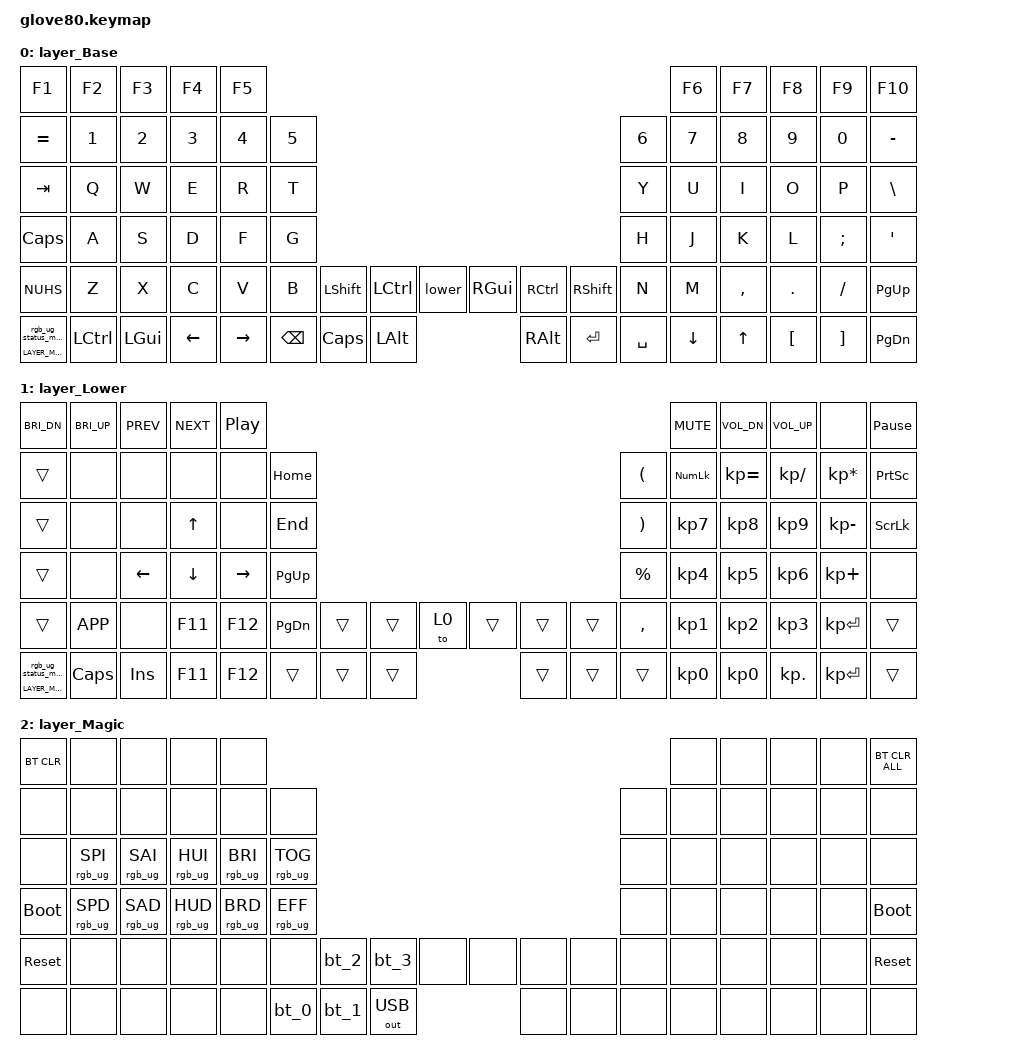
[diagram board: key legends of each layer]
/*
 * Copyright (c) 2020 The ZMK Contributors
 * Copyright (c) 2025 Innaworks Development Limited, trading as MoErgo
 *
 * SPDX-License-Identifier: MIT
 */


/* THIS FILE WAS GENERATED BY GLOVE80 LAYOUT EDITOR
 *
 * This file was generated automatically. You may or may not want to
 * edit it directly.
 */

#include <behaviors.dtsi>
/* Include all behavior includes needed */
#include <dt-bindings/zmk/outputs.h>
#include <dt-bindings/zmk/keys.h>
#include <dt-bindings/zmk/bt.h>
#include <dt-bindings/zmk/rgb.h>

/* On demand includes */


/* Helper Macros, based on https://github.com/urob/zmk-helpers/ */

#pragma once

#define ZMK_HELPER_STRINGIFY(x) #x

// Preprocessor mechanism to overload macros, cf. https://stackoverflow.com/a/27051616/6114651
#define VARGS_(_10, _9, _8, _7, _6, _5, _4, _3, _2, _1, N, ...) N
#define VARGS(...) VARGS_(__VA_ARGS__, 10, 9, 8, 7, 6, 5, 4, 3, 2, 1, 0)
#define CONCAT_(a, b) a##b
#define CONCAT(a, b) CONCAT_(a, b)

#define ZMK_BEHAVIOR_CORE_tap_dance  \
    compatible = "zmk,behavior-tap-dance"; \
    #binding-cells = <0>

#define ZMK_BEHAVIOR(name, type, ...) \
    name: name { \
        ZMK_BEHAVIOR_CORE_ ## type; \
        __VA_ARGS__ \
    };

#define ZMK_TAP_DANCE(name, ...) \
    ZMK_BEHAVIOR(name, tap_dance, __VA_ARGS__)

#define ZMK_TD_LAYER(name, layer) \
    ZMK_TAP_DANCE(name, \
        tapping-term-ms = <200>; \
        bindings = <&mo layer>, <&to layer>; \
)

/* Automatically generated layer name #define */
#define LAYER_Base 0
#define LAYER_Lower 1
#define LAYER_Magic 2

/* To deal with the situation where there is no Lower layer, to keep &lower happy */
#ifndef LAYER_Lower
#define LAYER_Lower 0
#endif

/* Custom Device-tree */


/* Input Listeners */


/* System behavior and Macros */
/ {
    behaviors {
        ZMK_TD_LAYER(lower, LAYER_Lower)
    };
};

/ {
    macros {
        rgb_ug_status_macro: rgb_ug_status_macro {
            label = "RGB_UG_STATUS";
            compatible = "zmk,behavior-macro";
            #binding-cells = <0>;
            bindings
                = <&rgb_ug RGB_STATUS>;
        };
    };
};


/ {
#ifdef BT_DISC_CMD
    behaviors {
        bt_0: bt_0 {
            compatible = "zmk,behavior-tap-dance";
            label = "BT_0";
            #binding-cells = <0>;
            tapping-term-ms = <200>;
            bindings = <&bt_select_0>, <&bt BT_DISC 0>;
        };
        bt_1: bt_1 {
            compatible = "zmk,behavior-tap-dance";
            label = "BT_1";
            #binding-cells = <0>;
            tapping-term-ms = <200>;
            bindings = <&bt_select_1>, <&bt BT_DISC 1>;
        };
        bt_2: bt_2 {
            compatible = "zmk,behavior-tap-dance";
            label = "BT_2";
            #binding-cells = <0>;
            tapping-term-ms = <200>;
            bindings = <&bt_select_2>, <&bt BT_DISC 2>;
        };
        bt_3: bt_3 {
            compatible = "zmk,behavior-tap-dance";
            label = "BT_3";
            #binding-cells = <0>;
            tapping-term-ms = <200>;
            bindings = <&bt_select_3>, <&bt BT_DISC 3>;
        };
    };
    macros {
        bt_select_0: bt_select_0 {
            label = "BT_SELECT_0";
            compatible = "zmk,behavior-macro";
            #binding-cells = <0>;
            bindings
                = <&out OUT_BLE>,
                  <&bt BT_SEL 0>;
        };
        bt_select_1: bt_select_1 {
            label = "BT_SELECT_1";
            compatible = "zmk,behavior-macro";
            #binding-cells = <0>;
            bindings
                = <&out OUT_BLE>,
                  <&bt BT_SEL 1>;
        };
        bt_select_2: bt_select_2 {
            label = "BT_SELECT_2";
            compatible = "zmk,behavior-macro";
            #binding-cells = <0>;
            bindings
                = <&out OUT_BLE>,
                  <&bt BT_SEL 2>;
        };
        bt_select_3: bt_select_3 {
            label = "BT_SELECT_3";
            compatible = "zmk,behavior-macro";
            #binding-cells = <0>;
            bindings
                = <&out OUT_BLE>,
                  <&bt BT_SEL 3>;
        };
    };
#else
    macros {
        bt_0: bt_0 {
            label = "BT_0";
            compatible = "zmk,behavior-macro";
            #binding-cells = <0>;
            bindings
                = <&out OUT_BLE>,
                  <&bt BT_SEL 0>;
        };
        bt_1: bt_1 {
            label = "BT_1";
            compatible = "zmk,behavior-macro";
            #binding-cells = <0>;
            bindings
                = <&out OUT_BLE>,
                  <&bt BT_SEL 1>;
        };
        bt_2: bt_2 {
            label = "BT_2";
            compatible = "zmk,behavior-macro";
            #binding-cells = <0>;
            bindings
                = <&out OUT_BLE>,
                  <&bt BT_SEL 2>;
        };
        bt_3: bt_3 {
            label = "BT_3";
            compatible = "zmk,behavior-macro";
            #binding-cells = <0>;
            bindings
                = <&out OUT_BLE>,
                  <&bt BT_SEL 3>;
        };
    };
#endif
};

/ {
    behaviors {
        magic: magic {
            compatible = "zmk,behavior-hold-tap";
            label = "MAGIC_HOLD_TAP";
            #binding-cells = <2>;
            flavor = "tap-preferred";
            tapping-term-ms = <200>;
            bindings = <&mo>, <&rgb_ug_status_macro>;
        };
    };
};

/* #define for key positions */
#define POS_LH_T1 52
#define POS_LH_T2 53
#define POS_LH_T3 54
#define POS_LH_T4 69
#define POS_LH_T5 70
#define POS_LH_T6 71
#define POS_LH_C1R2 15
#define POS_LH_C1R3 27
#define POS_LH_C1R4 39
#define POS_LH_C1R5 51
#define POS_LH_C2R1 4
#define POS_LH_C2R2 14
#define POS_LH_C2R3 26
#define POS_LH_C2R4 38
#define POS_LH_C2R5 50
#define POS_LH_C2R6 68
#define POS_LH_C3R1 3
#define POS_LH_C3R2 13
#define POS_LH_C3R3 25
#define POS_LH_C3R4 37
#define POS_LH_C3R5 49
#define POS_LH_C3R6 67
#define POS_LH_C4R1 2
#define POS_LH_C4R2 12
#define POS_LH_C4R3 24
#define POS_LH_C4R4 36
#define POS_LH_C4R5 48
#define POS_LH_C4R6 66
#define POS_LH_C5R1 1
#define POS_LH_C5R2 11
#define POS_LH_C5R3 23
#define POS_LH_C5R4 35
#define POS_LH_C5R5 47
#define POS_LH_C5R6 65
#define POS_LH_C6R1 0
#define POS_LH_C6R2 10
#define POS_LH_C6R3 22
#define POS_LH_C6R4 34
#define POS_LH_C6R5 46
#define POS_LH_C6R6 64
#define POS_RH_T1 57
#define POS_RH_T2 56
#define POS_RH_T3 55
#define POS_RH_T4 74
#define POS_RH_T5 73
#define POS_RH_T6 72
#define POS_RH_C1R2 16
#define POS_RH_C1R3 28
#define POS_RH_C1R4 40
#define POS_RH_C1R5 58
#define POS_RH_C2R1 5
#define POS_RH_C2R2 17
#define POS_RH_C2R3 29
#define POS_RH_C2R4 41
#define POS_RH_C2R5 59
#define POS_RH_C2R6 75
#define POS_RH_C3R1 6
#define POS_RH_C3R2 18
#define POS_RH_C3R3 30
#define POS_RH_C3R4 42
#define POS_RH_C3R5 60
#define POS_RH_C3R6 76
#define POS_RH_C4R1 7
#define POS_RH_C4R2 19
#define POS_RH_C4R3 31
#define POS_RH_C4R4 43
#define POS_RH_C4R5 61
#define POS_RH_C4R6 77
#define POS_RH_C5R1 8
#define POS_RH_C5R2 20
#define POS_RH_C5R3 32
#define POS_RH_C5R4 44
#define POS_RH_C5R5 62
#define POS_RH_C5R6 78
#define POS_RH_C6R1 9
#define POS_RH_C6R2 21
#define POS_RH_C6R3 33
#define POS_RH_C6R4 45
#define POS_RH_C6R5 63
#define POS_RH_C6R6 79

/* Custom Defined Behaviors */
/ {

};

/* Generated input processors */


/* Automatically generated macro definitions */
/ {
    macros {

    };
};

/* Automatically generated behavior definitions */
/ {
    behaviors {


    };
};

/* Automatically generated combos definitions */


/* Automatically generated keymap */
/ {
    keymap {
        compatible = "zmk,keymap";


        layer_Base {
            bindings = <
               &kp F1     &kp F2    &kp F3    &kp F4     &kp F5                                                                                    &kp F6     &kp F7    &kp F8    &kp F9    &kp F10
            &kp EQUAL     &kp N1    &kp N2    &kp N3     &kp N4  &kp N5                                                                  &kp N6    &kp N7     &kp N8    &kp N9    &kp N0  &kp MINUS
              &kp TAB      &kp Q     &kp W     &kp E      &kp R   &kp T                                                                   &kp Y     &kp U      &kp I     &kp O     &kp P   &kp BSLH
             &kp CAPS      &kp A     &kp S     &kp D      &kp F   &kp G                                                                   &kp H     &kp J      &kp K     &kp L  &kp SEMI    &kp SQT
               &kp NUHS    &kp Z     &kp X     &kp C      &kp V   &kp B  &kp LSHFT  &kp LCTRL    &lower  &kp RGUI  &kp RCTRL  &kp RSHFT   &kp N     &kp M  &kp COMMA   &kp DOT  &kp FSLH  &kp PG_UP
 &magic LAYER_Magic 0  &kp LCTRL  &kp LGUI  &kp LEFT  &kp RIGHT           &kp BSPC   &kp CAPS  &kp LALT  &kp RALT    &kp RET  &kp SPACE          &kp DOWN     &kp UP  &kp LBKT  &kp RBKT  &kp PG_DN
            >;
        };

        layer_Lower {
            bindings = <
         &kp C_BRI_DN  &kp C_BRI_UP      &kp C_PREV      &kp C_NEXT         &kp C_PP                                                                                    &kp C_MUTE  &kp C_VOL_DN  &kp C_VOL_UP            &none  &kp PAUSE_BREAK
               &trans         &none           &none           &none            &none   &kp HOME                                                   &kp LEFT_PARENTHESIS  &kp KP_NUM  &kp KP_EQUAL  &kp KP_SLASH  &kp KP_MULTIPLY  &kp PRINTSCREEN
               &trans         &none           &none    &kp UP_ARROW            &none    &kp END                                                  &kp RIGHT_PARENTHESIS   &kp KP_N7     &kp KP_N8     &kp KP_N9     &kp KP_MINUS   &kp SCROLLLOCK
               &trans         &none  &kp LEFT_ARROW  &kp DOWN_ARROW  &kp RIGHT_ARROW  &kp PG_UP                                                            &kp PERCENT   &kp KP_N4     &kp KP_N5     &kp KP_N6      &kp KP_PLUS            &none
               &trans     &kp K_APP           &none         &kp F11          &kp F12  &kp PG_DN  &trans  &trans   &to 0  &trans  &trans  &trans              &kp COMMA   &kp KP_N1     &kp KP_N2     &kp KP_N3     &kp KP_ENTER           &trans
 &magic LAYER_Magic 0      &kp CAPS         &kp INS         &kp F11          &kp F12             &trans  &trans  &trans  &trans  &trans  &trans                          &kp KP_N0     &kp KP_N0    &kp KP_DOT     &kp KP_ENTER           &trans
            >;
        };

        layer_Magic {
            bindings = <
  &bt BT_CLR            &none            &none            &none            &none                                                                                  &none   &none   &none   &none  &bt BT_CLR_ALL
       &none            &none            &none            &none            &none            &none                                                         &none   &none   &none   &none   &none           &none
       &none  &rgb_ug RGB_SPI  &rgb_ug RGB_SAI  &rgb_ug RGB_HUI  &rgb_ug RGB_BRI  &rgb_ug RGB_TOG                                                         &none   &none   &none   &none   &none           &none
 &bootloader  &rgb_ug RGB_SPD  &rgb_ug RGB_SAD  &rgb_ug RGB_HUD  &rgb_ug RGB_BRD  &rgb_ug RGB_EFF                                                         &none   &none   &none   &none   &none     &bootloader
  &sys_reset            &none            &none            &none            &none            &none   &bt_2   &bt_3         &none   &none   &none   &none   &none   &none   &none   &none   &none      &sys_reset
       &none            &none            &none            &none            &none                    &bt_0   &bt_1  &out OUT_USB   &none   &none   &none           &none   &none   &none   &none           &none
            >;
        };

    };
};

/*
 * Copyright (c) 2020 The ZMK Contributors
 * Copyright (c) 2025 Innaworks Development Limited, trading as MoErgo
 *
 * SPDX-License-Identifier: MIT
 */


/* THIS FILE WAS GENERATED BY GLOVE80 LAYOUT EDITOR
 *
 * This file was generated automatically. You may or may not want to
 * edit it directly.
 */

#include <behaviors.dtsi>
/* Include all behavior includes needed */
#include <dt-bindings/zmk/outputs.h>
#include <dt-bindings/zmk/keys.h>
#include <dt-bindings/zmk/bt.h>
#include <dt-bindings/zmk/rgb.h>

/* On demand includes */


/* Helper Macros, based on https://github.com/urob/zmk-helpers/ */

#pragma once

#define ZMK_HELPER_STRINGIFY(x) #x

// Preprocessor mechanism to overload macros, cf. https://stackoverflow.com/a/27051616/6114651
#define VARGS_(_10, _9, _8, _7, _6, _5, _4, _3, _2, _1, N, ...) N
#define VARGS(...) VARGS_(__VA_ARGS__, 10, 9, 8, 7, 6, 5, 4, 3, 2, 1, 0)
#define CONCAT_(a, b) a##b
#define CONCAT(a, b) CONCAT_(a, b)

#define ZMK_BEHAVIOR_CORE_tap_dance  \
    compatible = "zmk,behavior-tap-dance"; \
    #binding-cells = <0>

#define ZMK_BEHAVIOR(name, type, ...) \
    name: name { \
        ZMK_BEHAVIOR_CORE_ ## type; \
        __VA_ARGS__ \
    };

#define ZMK_TAP_DANCE(name, ...) \
    ZMK_BEHAVIOR(name, tap_dance, __VA_ARGS__)

#define ZMK_TD_LAYER(name, layer) \
    ZMK_TAP_DANCE(name, \
        tapping-term-ms = <200>; \
        bindings = <&mo layer>, <&to layer>; \
)

/* Automatically generated layer name #define */
#define LAYER_Base 0
#define LAYER_Lower 1
#define LAYER_Magic 2

/* To deal with the situation where there is no Lower layer, to keep &lower happy */
#ifndef LAYER_Lower
#define LAYER_Lower 0
#endif

/* Custom Device-tree */


/* Input Listeners */


/* System behavior and Macros */
/ {
    behaviors {
        ZMK_TD_LAYER(lower, LAYER_Lower)
    };
};

/ {
    macros {
        rgb_ug_status_macro: rgb_ug_status_macro {
            label = "RGB_UG_STATUS";
            compatible = "zmk,behavior-macro";
            #binding-cells = <0>;
            bindings
                = <&rgb_ug RGB_STATUS>;
        };
    };
};


/ {
#ifdef BT_DISC_CMD
    behaviors {
        bt_0: bt_0 {
            compatible = "zmk,behavior-tap-dance";
            label = "BT_0";
            #binding-cells = <0>;
            tapping-term-ms = <200>;
            bindings = <&bt_select_0>, <&bt BT_DISC 0>;
        };
        bt_1: bt_1 {
            compatible = "zmk,behavior-tap-dance";
            label = "BT_1";
            #binding-cells = <0>;
            tapping-term-ms = <200>;
            bindings = <&bt_select_1>, <&bt BT_DISC 1>;
        };
        bt_2: bt_2 {
            compatible = "zmk,behavior-tap-dance";
            label = "BT_2";
            #binding-cells = <0>;
            tapping-term-ms = <200>;
            bindings = <&bt_select_2>, <&bt BT_DISC 2>;
        };
        bt_3: bt_3 {
            compatible = "zmk,behavior-tap-dance";
            label = "BT_3";
            #binding-cells = <0>;
            tapping-term-ms = <200>;
            bindings = <&bt_select_3>, <&bt BT_DISC 3>;
        };
    };
    macros {
        bt_select_0: bt_select_0 {
            label = "BT_SELECT_0";
            compatible = "zmk,behavior-macro";
            #binding-cells = <0>;
            bindings
                = <&out OUT_BLE>,
                  <&bt BT_SEL 0>;
        };
        bt_select_1: bt_select_1 {
            label = "BT_SELECT_1";
            compatible = "zmk,behavior-macro";
            #binding-cells = <0>;
            bindings
                = <&out OUT_BLE>,
                  <&bt BT_SEL 1>;
        };
        bt_select_2: bt_select_2 {
            label = "BT_SELECT_2";
            compatible = "zmk,behavior-macro";
            #binding-cells = <0>;
            bindings
                = <&out OUT_BLE>,
                  <&bt BT_SEL 2>;
        };
        bt_select_3: bt_select_3 {
            label = "BT_SELECT_3";
            compatible = "zmk,behavior-macro";
            #binding-cells = <0>;
            bindings
                = <&out OUT_BLE>,
                  <&bt BT_SEL 3>;
        };
    };
#else
    macros {
        bt_0: bt_0 {
            label = "BT_0";
            compatible = "zmk,behavior-macro";
            #binding-cells = <0>;
            bindings
                = <&out OUT_BLE>,
                  <&bt BT_SEL 0>;
        };
        bt_1: bt_1 {
            label = "BT_1";
            compatible = "zmk,behavior-macro";
            #binding-cells = <0>;
            bindings
                = <&out OUT_BLE>,
                  <&bt BT_SEL 1>;
        };
        bt_2: bt_2 {
            label = "BT_2";
            compatible = "zmk,behavior-macro";
            #binding-cells = <0>;
            bindings
                = <&out OUT_BLE>,
                  <&bt BT_SEL 2>;
        };
        bt_3: bt_3 {
            label = "BT_3";
            compatible = "zmk,behavior-macro";
            #binding-cells = <0>;
            bindings
                = <&out OUT_BLE>,
                  <&bt BT_SEL 3>;
        };
    };
#endif
};

/ {
    behaviors {
        magic: magic {
            compatible = "zmk,behavior-hold-tap";
            label = "MAGIC_HOLD_TAP";
            #binding-cells = <2>;
            flavor = "tap-preferred";
            tapping-term-ms = <200>;
            bindings = <&mo>, <&rgb_ug_status_macro>;
        };
    };
};

/* #define for key positions */
#define POS_LH_T1 52
#define POS_LH_T2 53
#define POS_LH_T3 54
#define POS_LH_T4 69
#define POS_LH_T5 70
#define POS_LH_T6 71
#define POS_LH_C1R2 15
#define POS_LH_C1R3 27
#define POS_LH_C1R4 39
#define POS_LH_C1R5 51
#define POS_LH_C2R1 4
#define POS_LH_C2R2 14
#define POS_LH_C2R3 26
#define POS_LH_C2R4 38
#define POS_LH_C2R5 50
#define POS_LH_C2R6 68
#define POS_LH_C3R1 3
#define POS_LH_C3R2 13
#define POS_LH_C3R3 25
#define POS_LH_C3R4 37
#define POS_LH_C3R5 49
#define POS_LH_C3R6 67
#define POS_LH_C4R1 2
#define POS_LH_C4R2 12
#define POS_LH_C4R3 24
#define POS_LH_C4R4 36
#define POS_LH_C4R5 48
#define POS_LH_C4R6 66
#define POS_LH_C5R1 1
#define POS_LH_C5R2 11
#define POS_LH_C5R3 23
#define POS_LH_C5R4 35
#define POS_LH_C5R5 47
#define POS_LH_C5R6 65
#define POS_LH_C6R1 0
#define POS_LH_C6R2 10
#define POS_LH_C6R3 22
#define POS_LH_C6R4 34
#define POS_LH_C6R5 46
#define POS_LH_C6R6 64
#define POS_RH_T1 57
#define POS_RH_T2 56
#define POS_RH_T3 55
#define POS_RH_T4 74
#define POS_RH_T5 73
#define POS_RH_T6 72
#define POS_RH_C1R2 16
#define POS_RH_C1R3 28
#define POS_RH_C1R4 40
#define POS_RH_C1R5 58
#define POS_RH_C2R1 5
#define POS_RH_C2R2 17
#define POS_RH_C2R3 29
#define POS_RH_C2R4 41
#define POS_RH_C2R5 59
#define POS_RH_C2R6 75
#define POS_RH_C3R1 6
#define POS_RH_C3R2 18
#define POS_RH_C3R3 30
#define POS_RH_C3R4 42
#define POS_RH_C3R5 60
#define POS_RH_C3R6 76
#define POS_RH_C4R1 7
#define POS_RH_C4R2 19
#define POS_RH_C4R3 31
#define POS_RH_C4R4 43
#define POS_RH_C4R5 61
#define POS_RH_C4R6 77
#define POS_RH_C5R1 8
#define POS_RH_C5R2 20
#define POS_RH_C5R3 32
#define POS_RH_C5R4 44
#define POS_RH_C5R5 62
#define POS_RH_C5R6 78
#define POS_RH_C6R1 9
#define POS_RH_C6R2 21
#define POS_RH_C6R3 33
#define POS_RH_C6R4 45
#define POS_RH_C6R5 63
#define POS_RH_C6R6 79

/* Custom Defined Behaviors */
/ {

};

/* Generated input processors */


/* Automatically generated macro definitions */
/ {
    macros {

    };
};

/* Automatically generated behavior definitions */
/ {
    behaviors {


    };
};

/* Automatically generated combos definitions */


/* Automatically generated keymap */
/ {
    keymap {
        compatible = "zmk,keymap";


        layer_Base {
            bindings = <
               &kp F1     &kp F2    &kp F3    &kp F4     &kp F5                                                                                    &kp F6     &kp F7    &kp F8    &kp F9    &kp F10
            &kp EQUAL     &kp N1    &kp N2    &kp N3     &kp N4  &kp N5                                                                  &kp N6    &kp N7     &kp N8    &kp N9    &kp N0  &kp MINUS
              &kp TAB      &kp Q     &kp W     &kp E      &kp R   &kp T                                                                   &kp Y     &kp U      &kp I     &kp O     &kp P   &kp BSLH
             &kp CAPS      &kp A     &kp S     &kp D      &kp F   &kp G                                                                   &kp H     &kp J      &kp K     &kp L  &kp SEMI    &kp SQT
               &kp NUHS    &kp Z     &kp X     &kp C      &kp V   &kp B  &kp LSHFT  &kp LCTRL    &lower  &kp RGUI  &kp RCTRL  &kp RSHFT   &kp N     &kp M  &kp COMMA   &kp DOT  &kp FSLH  &kp PG_UP
 &magic LAYER_Magic 0  &kp LCTRL  &kp LGUI  &kp LEFT  &kp RIGHT           &kp BSPC   &kp CAPS  &kp LALT  &kp RALT    &kp RET  &kp SPACE          &kp DOWN     &kp UP  &kp LBKT  &kp RBKT  &kp PG_DN
            >;
        };

        layer_Lower {
            bindings = <
         &kp C_BRI_DN  &kp C_BRI_UP      &kp C_PREV      &kp C_NEXT         &kp C_PP                                                                                    &kp C_MUTE  &kp C_VOL_DN  &kp C_VOL_UP            &none  &kp PAUSE_BREAK
               &trans         &none           &none           &none            &none   &kp HOME                                                   &kp LEFT_PARENTHESIS  &kp KP_NUM  &kp KP_EQUAL  &kp KP_SLASH  &kp KP_MULTIPLY  &kp PRINTSCREEN
               &trans         &none           &none    &kp UP_ARROW            &none    &kp END                                                  &kp RIGHT_PARENTHESIS   &kp KP_N7     &kp KP_N8     &kp KP_N9     &kp KP_MINUS   &kp SCROLLLOCK
               &trans         &none  &kp LEFT_ARROW  &kp DOWN_ARROW  &kp RIGHT_ARROW  &kp PG_UP                                                            &kp PERCENT   &kp KP_N4     &kp KP_N5     &kp KP_N6      &kp KP_PLUS            &none
               &trans     &kp K_APP           &none         &kp F11          &kp F12  &kp PG_DN  &trans  &trans   &to 0  &trans  &trans  &trans              &kp COMMA   &kp KP_N1     &kp KP_N2     &kp KP_N3     &kp KP_ENTER           &trans
 &magic LAYER_Magic 0      &kp CAPS         &kp INS         &kp F11          &kp F12             &trans  &trans  &trans  &trans  &trans  &trans                          &kp KP_N0     &kp KP_N0    &kp KP_DOT     &kp KP_ENTER           &trans
            >;
        };

        layer_Magic {
            bindings = <
  &bt BT_CLR            &none            &none            &none            &none                                                                                  &none   &none   &none   &none  &bt BT_CLR_ALL
       &none            &none            &none            &none            &none            &none                                                         &none   &none   &none   &none   &none           &none
       &none  &rgb_ug RGB_SPI  &rgb_ug RGB_SAI  &rgb_ug RGB_HUI  &rgb_ug RGB_BRI  &rgb_ug RGB_TOG                                                         &none   &none   &none   &none   &none           &none
 &bootloader  &rgb_ug RGB_SPD  &rgb_ug RGB_SAD  &rgb_ug RGB_HUD  &rgb_ug RGB_BRD  &rgb_ug RGB_EFF                                                         &none   &none   &none   &none   &none     &bootloader
  &sys_reset            &none            &none            &none            &none            &none   &bt_2   &bt_3         &none   &none   &none   &none   &none   &none   &none   &none   &none      &sys_reset
       &none            &none            &none            &none            &none                    &bt_0   &bt_1  &out OUT_USB   &none   &none   &none           &none   &none   &none   &none           &none
            >;
        };

    };
};


